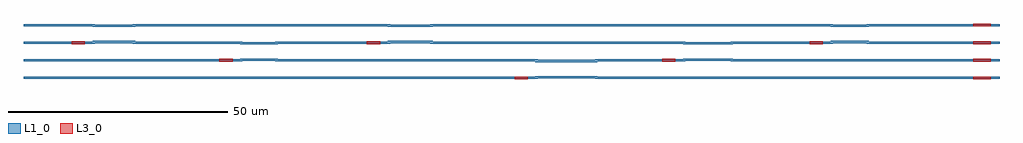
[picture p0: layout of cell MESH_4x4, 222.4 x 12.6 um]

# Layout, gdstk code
import gdstk
lib = gdstk.Library(unit=1e-6, precision=1e-09)
def R(c, l, rs):  # rectangles x0, y0, x1, y1
    for r in rs: c.add(gdstk.rectangle(r[:2], r[2:], *l))
def A(c, l, x, y, w, h, nx, ny, dx, dy):  # array of equal rectangles
    R(c, l, [(x+i*dx, y+j*dy, x+i*dx+w, y+j*dy+h) for i in range(nx) for j in range(ny)])
L1_0 = (1, 0)
L3_0 = (3, 0)

mesh_4x4 = lib.new_cell('MESH_4x4')
A(mesh_4x4, L3_0, 216.404, -0.3, 4, 0.6, 1, 4, 0, 4)
R(mesh_4x4, L3_0, [(111.906,-0.3,114.906,0.3), (44.635,3.7,47.635,4.3), (145.541,3.7,148.541,4.3), (11,7.7,14,8.3), (78.271,7.7,81.271,8.3), (179.177,7.7,182.177,8.3)])
mesh_4x4.add(gdstk.FlexPath([(0,0),(116.906,0),(116.906,0.15),(130.541,0.15),(130.541,0),(136.541,0),(222.404,0)], 0.5, ends="flush", simple_path=True, layer=1, datatype=0))  # L1_0
mesh_4x4.add(gdstk.FlexPath([(0,4),(49.635,4),(49.635,4.15),(57.639,4.15),(57.639,4),(63.639,4),(116.906,4),(116.906,3.85),(130.541,3.85),(130.541,4),(136.541,4),(150.541,4),(150.541,4.15),(161.391,4.15),(161.391,4),(167.391,4),(222.404,4)], 0.5, ends="flush", simple_path=True, layer=1, datatype=0))  # L1_0
mesh_4x4.add(gdstk.FlexPath([(0,8),(16,8),(16,8.15),(25.171,8.15),(25.171,8),(31.171,8),(49.635,8),(49.635,7.85),(57.639,7.85),(57.639,8),(63.639,8),(83.271,8),(83.271,8.15),(92.984,8.15),(92.984,8),(98.984,8),(150.541,8),(150.541,7.85),(161.391,7.85),(161.391,8),(167.391,8),(184.177,8),(184.177,8.15),(192.404,8.15),(192.404,8),(198.404,8),(222.404,8)], 0.5, ends="flush", simple_path=True, layer=1, datatype=0))  # L1_0
mesh_4x4.add(gdstk.FlexPath([(0,12),(16,12),(16,11.85),(25.171,11.85),(25.171,12),(31.171,12),(83.271,12),(83.271,11.85),(92.984,11.85),(92.984,12),(98.984,12),(184.177,12),(184.177,11.85),(192.404,11.85),(192.404,12),(198.404,12),(222.404,12)], 0.5, ends="flush", simple_path=True, layer=1, datatype=0))  # L1_0

lib.write_gds('MESH_4x4.gds')
